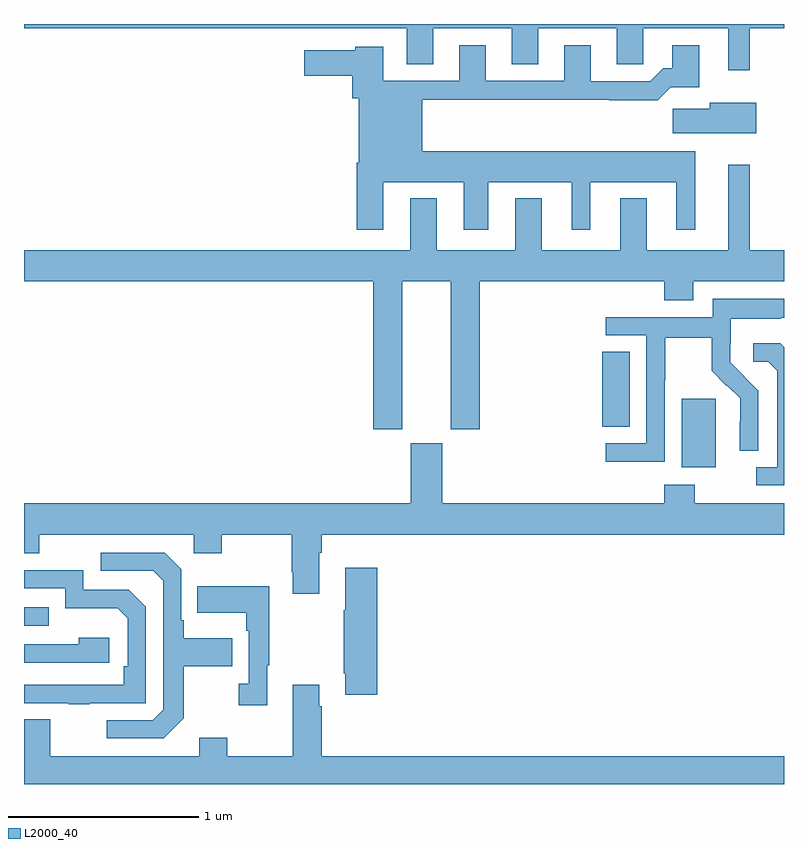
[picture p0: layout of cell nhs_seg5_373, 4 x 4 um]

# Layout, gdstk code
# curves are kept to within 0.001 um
import gdstk
lib = gdstk.Library(unit=1e-6, precision=1e-09)
def R(c, l, rs):  # rectangles x0, y0, x1, y1
    for r in rs: c.add(gdstk.rectangle(r[:2], r[2:], *l))
def P(c, l, *ps):  # polygons
    for p in ps: c.add(gdstk.Polygon(p, *l))
L2000_40 = (2000, 40)

nhs_seg5_373 = lib.new_cell('nhs_seg5_373')
R(nhs_seg5_373, L2000_40, [(135,837.633,135.131,837.729), (138.461,838.466,138.64,838.827), (138.044,838.678,138.187,839.075)])
P(nhs_seg5_373, L2000_40, [(138.821,840.776),(139,840.776),(139,840.799),(135,840.799),(135,840.776),(137.015,840.776),(137.015,840.586),(137.155,840.586),(137.155,840.776),(137.567,840.776),(137.567,840.586),(137.707,840.586),(137.707,840.776),(138.119,840.776),(138.119,840.586),(138.258,840.586),(138.258,840.776),(138.707,840.776),(138.707,840.555),(138.821,840.555)],
  [(136.891,839.966),(137.315,839.966),(137.315,839.715),(137.443,839.715),(137.443,839.966),(137.882,839.966),(137.882,839.715),(137.98,839.715),(137.98,839.966),(138.434,839.966),(138.434,839.715),(138.532,839.715),(138.532,840.13),(137.095,840.13),(137.095,840.4),(138.079,840.4),(138.079,840.398),(138.335,840.398),(138.404,840.467),(138.553,840.467),(138.553,840.688),(138.413,840.688),(138.413,840.565),(138.364,840.565),(138.297,840.498),(137.983,840.498),(137.983,840.688),(137.843,840.688),(137.843,840.501),(137.431,840.501),(137.431,840.688),(137.291,840.688),(137.291,840.501),(136.891,840.501),(136.891,840.679),(136.743,840.679),(136.743,840.661),(136.476,840.661),(136.476,840.527),(136.727,840.527),(136.727,840.408),(136.763,840.408),(136.763,840.07),(136.751,840.07),(136.751,839.715),(136.891,839.715)],
  [(138.853,840.385),(138.608,840.385),(138.608,840.353),(138.414,840.353),(138.414,840.224),(138.853,840.224)],
  [(136.99,839.444),(137.246,839.444),(137.246,838.665),(137.399,838.665),(137.399,839.444),(138.371,839.444),(138.371,839.345),(138.523,839.345),(138.523,839.444),(139,839.444),(139,839.608),(138.821,839.608),(138.821,840.058),(138.707,840.058),(138.707,839.608),(138.277,839.608),(138.277,839.881),(138.137,839.881),(138.137,839.608),(137.725,839.608),(137.725,839.881),(137.585,839.881),(137.585,839.608),(137.173,839.608),(137.173,839.881),(137.033,839.881),(137.033,839.608),(135,839.608),(135,839.444),(136.838,839.444),(136.838,838.665),(136.99,838.665)],
  [(138.372,838.924),(138.375,838.924),(138.375,839.148),(138.619,839.148),(138.619,838.973),(138.696,838.896),(138.699,838.899),(138.77,838.829),(138.77,838.706),(138.768,838.706),(138.768,838.552),(138.864,838.552),(138.864,838.87),(138.718,839.018),(138.718,839.115),(138.72,839.115),(138.72,839.249),(138.983,839.249),(138.983,839.253),(139,839.253),(139,839.353),(138.624,839.353),(138.624,839.256),(138.063,839.256),(138.063,839.16),(138.276,839.16),(138.276,838.593),(138.063,838.593),(138.063,838.495),(138.372,838.495)],
  [(139,839.099),(138.98,839.119),(138.837,839.119),(138.837,839.022),(138.918,839.022),(138.965,838.975),(138.965,838.467),(138.855,838.467),(138.855,838.371),(139,838.371)],
  [(136.555,838.016),(136.568,838.016),(136.568,838.112),(139,838.112),(139,838.276),(138.531,838.276),(138.531,838.375),(138.371,838.375),(138.371,838.276),(137.2,838.276),(137.2,838.593),(137.036,838.593),(137.036,838.276),(135,838.276),(135,838.013),(135.081,838.013),(135.081,838.112),(135.894,838.112),(135.894,838.013),(136.041,838.013),(136.041,838.112),(136.408,838.112),(136.408,837.913),(136.415,837.913),(136.415,837.801),(136.555,837.801)],
  [(135.841,837.145),(135.841,837.418),(136.097,837.418),(136.097,837.565),(135.841,837.565),(135.841,837.661),(135.828,837.661),(135.828,837.93),(135.741,838.017),(135.405,838.017),(135.405,837.921),(135.681,837.921),(135.732,837.87),(135.732,837.189),(135.678,837.135),(135.435,837.135),(135.435,837.039),(135.735,837.039)],
  [(136.859,837.937),(136.691,837.937),(136.691,837.713),(136.684,837.713),(136.684,837.382),(136.691,837.382),(136.691,837.27),(136.859,837.27)],
  [(135.347,837.225),(135.642,837.225),(135.642,837.732),(135.552,837.822),(135.312,837.822),(135.312,837.924),(135,837.924),(135,837.828),(135.216,837.828),(135.216,837.725),(135.493,837.725),(135.546,837.672),(135.546,837.418),(135.526,837.418),(135.526,837.321),(135,837.321),(135,837.225),(135.235,837.225),(135.235,837.22),(135.347,837.22)],
  [(136.279,837.425),(136.291,837.425),(136.291,837.841),(135.913,837.841),(135.913,837.701),(136.17,837.701),(136.17,837.605),(136.182,837.605),(136.182,837.326),(136.131,837.326),(136.131,837.213),(136.279,837.213)],
  [(135.448,837.568),(135.287,837.568),(135.287,837.534),(135,837.534),(135,837.438),(135.448,837.438)],
  [(139,836.944),(136.568,836.944),(136.568,837.209),(136.555,837.209),(136.555,837.322),(136.415,837.322),(136.415,836.944),(136.071,836.944),(136.071,837.043),(135.923,837.043),(135.923,836.944),(135.139,836.944),(135.139,837.139),(135,837.139),(135,836.799),(139,836.799)])

lib.write_gds('nhs_seg5_373.gds')
